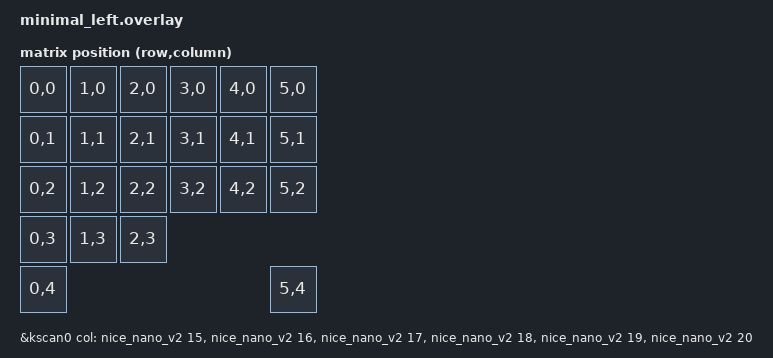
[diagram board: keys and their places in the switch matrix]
#include "minimal.dtsi" // Notice that the main dtsi files are included in the overlay.


#include <dt-bindings/zmk/matrix_transform.h>

/ {
    chosen {
        zmk,kscan = &kscan0;
        zmk,matrix-transform = &default_transform;
    };
    &left_encoder {
        status = "okay";
    };
    &right_encoder {
        status = "okay";
    };
    &kscan0 {
    col-gpios
        = <&nice_nano_v2 15 GPIO_ACTIVE_HIGH> // col1 in the schematic
        , <&nice_nano_v2 16 GPIO_ACTIVE_HIGH> // col2 in the schematic
        , <&nice_nano_v2 17 GPIO_ACTIVE_HIGH> // col3 in the schematic
        , <&nice_nano_v2 18 GPIO_ACTIVE_HIGH> // col4 in the schematic
        , <&nice_nano_v2 19 GPIO_ACTIVE_HIGH> // col5 in the schematic
        , <&nice_nano_v2 20 GPIO_ACTIVE_HIGH> // col6 in the schematic
        ;
    };

    default_transform: keymap_transform_0 {
        compatible = "zmk,matrix-transform";
        columns = <6>;
        rows = <5>;

        map = <
            RC(0,0) RC(1,0) RC(2,0) RC(3,0) RC(4,0) RC(5,0)
            RC(0,1) RC(1,1) RC(2,1) RC(3,1) RC(4,1) RC(5,1)
            RC(0,2) RC(1,2) RC(2,2) RC(3,2) RC(4,2) RC(5,2)
            RC(0,3) RC(1,3) RC(2,3)
            RC(0,4)                                 RC(5,4)
        >;
    };
};
